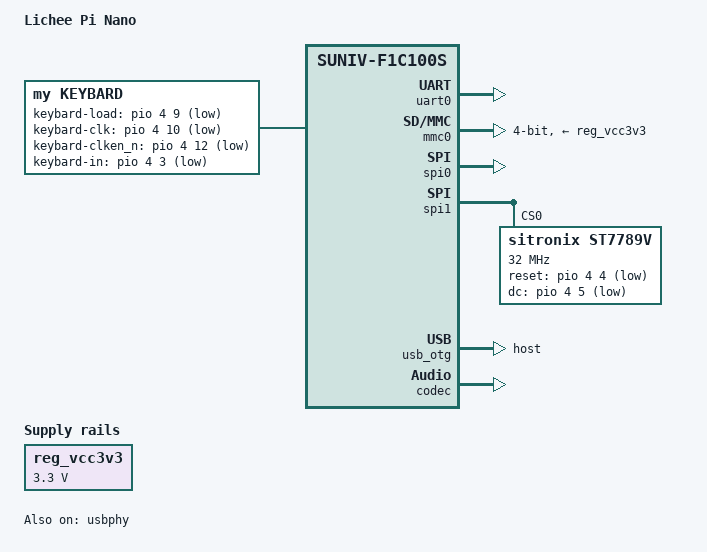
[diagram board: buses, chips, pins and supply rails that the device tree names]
// SPDX-License-Identifier: (GPL-2.0+ OR X11)
/*
 * Copyright 2018 Icenowy Zheng <icenowy@aosc.io>
 */

/dts-v1/;
#include "suniv-f1c100s.dtsi"

// my
#define GPIO_ACTIVE_LOW 1 
#define GPIO_ACTIVE_HIGH 0 

/ {
	model = "Lichee Pi Nano";
	compatible = "licheepi,licheepi-nano", "allwinner,suniv-f1c100s";

	aliases {
		serial0 = &uart0;
	};

	chosen {
		stdout-path = "serial0:115200n8";
	};

	//my
	//配置用于描述一个名为 vcc3v3 的电源轨，它提供恒定的3.3伏特电压
	reg_vcc3v3: vcc3v3 {
        compatible = "regulator-fixed";
        regulator-name = "vcc3v3";
        regulator-min-microvolt = <3300000>;
        regulator-max-microvolt = <3300000>;
        };

        //my io
        keybard {
                compatible = "my,keybard";
                pinctrl-names = "default";
                /* 将两个子节点都放进同一个状态 (index=0) */
                pinctrl-0 = <&keybard_out_pins &keybard_in_pins>;

                /* 下面是你驱动中要解析的属性名 */
                keybard-load = <&pio 4 9 GPIO_ACTIVE_LOW>;   // PE9
                keybard-clk = <&pio 4 10 GPIO_ACTIVE_LOW>;  // PE10
                keybard-clken_n = <&pio 4 12 GPIO_ACTIVE_LOW>;  // PE12
                keybard-in  = <&pio 4 3 GPIO_ACTIVE_LOW>;  // PE3

                status = "okay";
        };

};

&uart0 {
	pinctrl-names = "default";
	pinctrl-0 = <&uart0_pe_pins>;
	status = "okay";
};

//my vcc3v3
&mmc0 {
        vmmc-supply = <&reg_vcc3v3>;
        bus-width = <4>;
        broken-cd;
        status = "okay";
};

//my esp8266
&spi0 {
        pinctrl-names = "default";
        pinctrl-0 = <&spi0_pc_pins>;
        status = "okay";
};

//my screen
// GPIO_ACTIVE_LOW报错，找到GPIO_ACTIVE_LOW的定义：
// ./linux-5.7.1/include/linux/gpio/machine.h:	GPIO_ACTIVE_LOW			= (1 << 0),
// ./linux-5.7.1/include/dt-bindings/gpio/gpio.h:#define GPIO_ACTIVE_LOW 1
// 将GPIO_ACTIVE_LOW替换为1
&spi1 {
    st7789v@0 {
        status = "okay";
        compatible = "sitronix,st7789v";
		reg = <0>;
		spi-max-frequency =<32000000>;        //SPI时钟32M
		rotate =<270>;                    //屏幕旋转270度
		spi-cpol;
		spi-cpha;
		rgb;                           //颜色格式RGB
		fps =<30>;                      //刷新30帧率
		buswidth =<8>;                   //总线宽度8
		reset-gpios = < &pio 4 4 GPIO_ACTIVE_LOW>;   //GPIOE4  此处将GPIO_ACTIVE_LOW替换为1
		dc-gpios  = < &pio 4 5 GPIO_ACTIVE_LOW>;   //GPIOE5    此处将GPIO_ACTIVE_LOW替换为1
		debug =<0>;                     //不开启调试
    };
};

//my USB start--------------
&otg_sram {
        status = "okay";
};

&usb_otg {
        dr_mode = "host"; /* 三个可选项: otg / host / peripheral  我在这里指定为host模式*/
        status = "okay";
};
// GPIO_ACTIVE_HIGH报错，找到GPIO_ACTIVE_HIGH的定义：
// GPIO_ACTIVE_HIGH		= (0 << 0),
// 将GPIO_ACTIVE_HIGH替换为0
&usbphy {
        usb0_id_det-gpio = <&pio 4 2 GPIO_ACTIVE_HIGH>; /* PE2 */
        status = "okay";
};
//my USB end--------------

// my sound
&codec {
    allwinner,audio-routing =
    "Headphone", "HP",
    "Headphone", "HPCOM",
    "MIC", "Mic";
    status = "okay";
};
